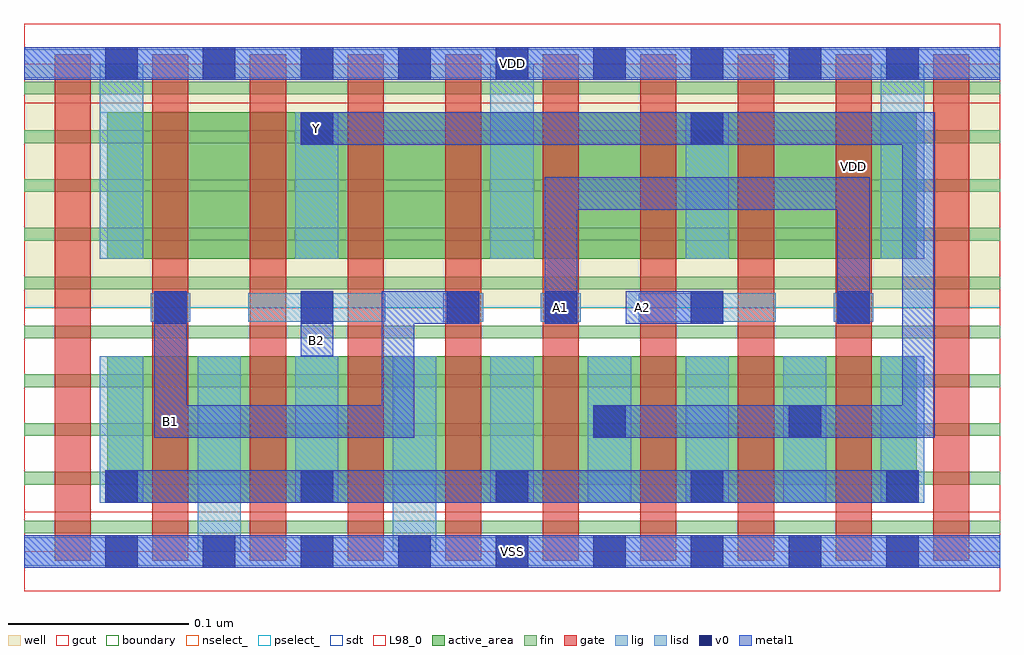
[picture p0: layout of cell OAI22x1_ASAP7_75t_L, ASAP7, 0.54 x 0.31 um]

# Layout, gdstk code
import gdstk
lib = gdstk.Library(unit=1e-6, precision=2.5e-10)
def R(c, l, rs):  # rectangles x0, y0, x1, y1
    for r in rs: c.add(gdstk.rectangle(r[:2], r[2:], *l))
def A(c, l, x, y, w, h, nx, ny, dx, dy):  # array of equal rectangles
    R(c, l, [(x+i*dx, y+j*dy, x+i*dx+w, y+j*dy+h) for i in range(nx) for j in range(ny)])
def P(c, l, *ps):  # polygons
    for p in ps: c.add(gdstk.Polygon(p, *l))
well = (1, 0)
fin = (2, 0)
gate = (7, 0)
gcut = (10, 0)
active_area = (11, 0)
nselect_ = (12, 0)
pselect_ = (13, 0)
lig = (16, 0)
lisd = (17, 0)
v0 = (18, 0)
metal1 = (19, 0)
sdt = (88, 0)
L98_0 = (98, 0)
boundary = (100, 0)

oai22x1_asap7_75t_l = lib.new_cell('OAI22x1_ASAP7_75t_L')
R(oai22x1_asap7_75t_l, well, [(0,0.135,0.54,0.27)])
A(oai22x1_asap7_75t_l, fin, 0, 0.01, 0.54, 0.007, 1, 10, 0, 0.027)
A(oai22x1_asap7_75t_l, gate, 0.017, -0.005, 0.02, 0.28, 10, 1, 0.054, 0)
R(oai22x1_asap7_75t_l, gcut, [(0,-0.022,0.54,0.022), (0,0.248,0.54,0.292)])
R(oai22x1_asap7_75t_l, active_area, [(0.046,0.027,0.494,0.108), (0.046,0.162,0.494,0.243)])
R(oai22x1_asap7_75t_l, nselect_, [(0,0,0.54,0.135)])
R(oai22x1_asap7_75t_l, pselect_, [(0,0.135,0.54,0.27)])
R(oai22x1_asap7_75t_l, lig, [(0,-0.008,0.54,0.008), (0.07,0.127,0.092,0.143), (0.124,0.127,0.2,0.143), (0.232,0.127,0.254,0.143), (0.286,0.127,0.308,0.143), (0.34,0.127,0.416,0.143), (0.448,0.127,0.47,0.143), (0,0.262,0.54,0.278)])
A(oai22x1_asap7_75t_l, lisd, 0.042, 0.027, 0.024, 0.081, 3, 1, 0.108, 0)
A(oai22x1_asap7_75t_l, lisd, 0.312, 0.027, 0.024, 0.081, 4, 1, 0.054, 0)
A(oai22x1_asap7_75t_l, lisd, 0.042, 0.162, 0.024, 0.108, 3, 1, 0.216, 0)
R(oai22x1_asap7_75t_l, lisd, [(0.096,0,0.12,0.108), (0.204,0,0.228,0.108), (0.15,0.162,0.174,0.243), (0.366,0.162,0.39,0.243)])
A(oai22x1_asap7_75t_l, v0, 0.045, -0.009, 0.018, 0.018, 9, 2, 0.054, 0.27)
A(oai22x1_asap7_75t_l, v0, 0.045, 0.027, 0.018, 0.018, 5, 1, 0.108, 0)
A(oai22x1_asap7_75t_l, v0, 0.072, 0.126, 0.018, 0.018, 3, 1, 0.081, 0)
A(oai22x1_asap7_75t_l, v0, 0.288, 0.126, 0.018, 0.018, 3, 1, 0.081, 0)
R(oai22x1_asap7_75t_l, v0, [(0.315,0.063,0.333,0.081), (0.423,0.063,0.441,0.081), (0.153,0.225,0.171,0.243), (0.369,0.225,0.387,0.243)])
R(oai22x1_asap7_75t_l, metal1, [(0,-0.009,0.54,0.009), (0.045,0.027,0.495,0.045), (0.153,0.108,0.171,0.144), (0.333,0.126,0.387,0.144), (0,0.261,0.54,0.279)])
P(oai22x1_asap7_75t_l, metal1, [(0.216,0.126),(0.252,0.126),(0.252,0.144),(0.198,0.144),(0.198,0.081),(0.09,0.081),(0.09,0.144),(0.072,0.144),(0.072,0.063),(0.216,0.063)],
  [(0.306,0.189),(0.45,0.189),(0.45,0.126),(0.468,0.126),(0.468,0.207),(0.288,0.207),(0.288,0.126),(0.306,0.126)],
  [(0.153,0.243),(0.153,0.225),(0.486,0.225),(0.486,0.081),(0.315,0.081),(0.315,0.063),(0.504,0.063),(0.504,0.243)])
A(oai22x1_asap7_75t_l, sdt, 0.042, 0.027, 0.024, 0.081, 9, 1, 0.054, 0)
A(oai22x1_asap7_75t_l, sdt, 0.042, 0.162, 0.024, 0.081, 5, 1, 0.108, 0)
R(oai22x1_asap7_75t_l, L98_0, [(0,0,0.54,0.27)])
R(oai22x1_asap7_75t_l, boundary, [(0,0,0.54,0.27)])
oai22x1_asap7_75t_l.add(gdstk.Label('B2', (0.162,0.117), layer=19, texttype=251))
oai22x1_asap7_75t_l.add(gdstk.Label('B1', (0.081,0.072), layer=19, texttype=251))
oai22x1_asap7_75t_l.add(gdstk.Label('Y', (0.162,0.234), layer=19, texttype=251))
oai22x1_asap7_75t_l.add(gdstk.Label('A1', (0.297,0.135), layer=19, texttype=251))
oai22x1_asap7_75t_l.add(gdstk.Label('A2', (0.342,0.135), layer=19, texttype=251))
oai22x1_asap7_75t_l.add(gdstk.Label('VSS', (0.27,0), layer=19, texttype=251))
oai22x1_asap7_75t_l.add(gdstk.Label('VDD', (0.27,0.27), layer=19, texttype=251))
oai22x1_asap7_75t_l.add(gdstk.Label('VDD', (0.459,0.213), layer=1, texttype=251))
oai22x1_asap7_75t_l.add(gdstk.Label('VSS', (0.621,0.213), layer=3, texttype=251))

lib.write_gds('OAI22x1_ASAP7_75t_L.gds')
